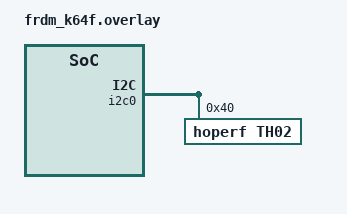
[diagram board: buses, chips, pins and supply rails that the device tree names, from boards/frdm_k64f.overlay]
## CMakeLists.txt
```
# SPDX-License-Identifier: Apache-2.0

cmake_minimum_required(VERSION 3.13.1)
find_package(Zephyr REQUIRED HINTS $ENV{ZEPHYR_BASE})
project(th02)

FILE(GLOB app_sources src/*.c)
target_sources(app PRIVATE ${app_sources})
```

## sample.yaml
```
sample:
  name: TH02 Temperature and Humidity Monitor
tests:
  sample.sensor.th02:
    harness: sensor
    tags: sensors
    depends_on: i2c
    filter: dt_compat_enabled("hoperf,th02")
```

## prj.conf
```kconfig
CONFIG_STDOUT_CONSOLE=y
CONFIG_I2C=y
CONFIG_SENSOR=y
CONFIG_TH02=y
CONFIG_LOG=n
CONFIG_SENSOR_LOG_LEVEL_DBG=y
CONFIG_GROVE_LCD_RGB=y
CONFIG_DISPLAY=y
CONFIG_CBPRINTF_FP_SUPPORT=y
```

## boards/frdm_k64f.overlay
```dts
/*
 * Copyright (c) 2019, Linaro Ltd.
 *
 * SPDX-License-Identifier: Apache-2.0
 */

&i2c0 {
	th02@40 {
		compatible = "hoperf,th02";
		reg = <0x40>;
		label = "TH02";
	};
};
```

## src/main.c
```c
/*
 * Copyright (c) 2016 Intel Corporation.
 *
 * SPDX-License-Identifier: Apache-2.0
 */

#include <zephyr.h>
#include <device.h>
#include <drivers/sensor.h>
#include <sys/printk.h>
#include <sys/util.h>

#ifdef CONFIG_GROVE_LCD_RGB
#include <display/grove_lcd.h>
#include <stdio.h>
#include <string.h>
#endif

struct channel_info {
	int chan;
	char *dev_name;
};

/* change device names if you want to use different sensors */
static struct channel_info info[] = {
	{ SENSOR_CHAN_AMBIENT_TEMP, "TH02" },
	{ SENSOR_CHAN_HUMIDITY, "TH02" },
};

void main(void)
{
	const struct device *dev[ARRAY_SIZE(info)];
	struct sensor_value val[ARRAY_SIZE(info)];
	unsigned int i;
	int rc;

	for (i = 0U; i < ARRAY_SIZE(info); i++) {
		dev[i] = device_get_binding(info[i].dev_name);
		if (dev[i] == NULL) {
			printk("Failed to get \"%s\" device\n",
			       info[i].dev_name);
			return;
		}
	}

#ifdef CONFIG_GROVE_LCD_RGB
	const struct device *glcd;

	glcd = device_get_binding(GROVE_LCD_NAME);
	if (glcd == NULL) {
		printk("Failed to get Grove LCD\n");
		return;
	}

	/* configure LCD */
	glcd_function_set(glcd, GLCD_FS_ROWS_2 | GLCD_FS_DOT_SIZE_LITTLE |
			  GLCD_FS_8BIT_MODE);
	glcd_display_state_set(glcd, GLCD_DS_DISPLAY_ON);
#endif

	while (1) {
		/* fetch sensor samples */
		for (i = 0U; i < ARRAY_SIZE(info); i++) {
			rc = sensor_sample_fetch(dev[i]);
			if (rc) {
				printk("Failed to fetch sample for device %s (%d)\n",
				       info[i].dev_name, rc);
			}
		}

		for (i = 0U; i < ARRAY_SIZE(info); i++) {
			rc = sensor_channel_get(dev[i], info[i].chan, &val[i]);
			if (rc) {
				printk("Failed to get data for device %s (%d)\n",
				       info[i].dev_name, rc);
				continue;
			}
		}

#ifdef CONFIG_GROVE_LCD_RGB
		char row[16];

		/* clear LCD */
		(void)memset(row, ' ', sizeof(row));
		glcd_cursor_pos_set(glcd, 0, 0);
		glcd_print(glcd, row, sizeof(row));
		glcd_cursor_pos_set(glcd, 0, 1);
		glcd_print(glcd, row, sizeof(row));

		/* display temperature on LCD */
		glcd_cursor_pos_set(glcd, 0, 0);
		sprintf(row, "T:%.1f%cC", sensor_value_to_double(val),
			223 /* degree symbol */);
		glcd_print(glcd, row, strlen(row));

		/* display himidity on LCD */
		glcd_cursor_pos_set(glcd, 17 - strlen(row), 0);
		sprintf(row, "RH:%.0f%c", sensor_value_to_double(val + 1),
			37 /* percent symbol */);
		glcd_print(glcd, row, strlen(row));

#endif

		k_sleep(K_MSEC(2000));
	}
}
```
